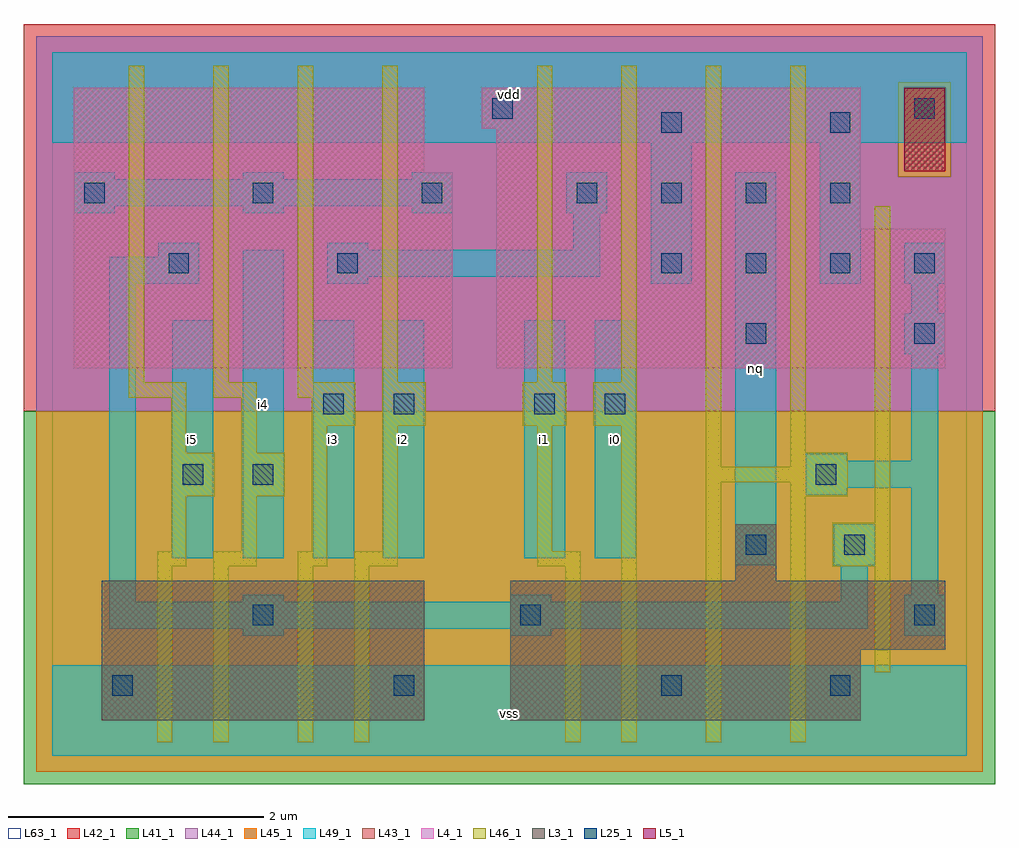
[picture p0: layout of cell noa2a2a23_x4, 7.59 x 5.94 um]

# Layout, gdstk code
import gdstk
lib = gdstk.Library(unit=1e-6, precision=1e-09)
def R(c, l, rs):  # rectangles x0, y0, x1, y1
    for r in rs: c.add(gdstk.rectangle(r[:2], r[2:], *l))
def A(c, l, x, y, w, h, nx, ny, dx, dy):  # array of equal rectangles
    R(c, l, [(x+i*dx, y+j*dy, x+i*dx+w, y+j*dy+h) for i in range(nx) for j in range(ny)])
L3_1 = (3, 1)
L4_1 = (4, 1)
L5_1 = (5, 1)
L25_1 = (25, 1)
L41_1 = (41, 1)
L42_1 = (42, 1)
L43_1 = (43, 1)
L44_1 = (44, 1)
L45_1 = (45, 1)
L46_1 = (46, 1)
L49_1 = (49, 1)
L63_1 = (63, 1)

noa2a2a23_x4 = lib.new_cell('noa2a2a23_x4')
R(noa2a2a23_x4, L3_1, [(0.39,0.28,2.91,1.37), (3.58,0.28,6.32,0.83), (3.58,0.83,6.98,1.37), (5.34,1.37,5.66,1.81)])
R(noa2a2a23_x4, L4_1, [(0.17,3.03,3.13,4.56), (3.47,3.03,6.98,4.12), (3.47,4.12,6.32,4.9), (0.17,4.56,2.91,5.22), (3.36,4.9,6.32,5.22)])
R(noa2a2a23_x4, L5_1, [(6.66,4.57,6.98,5.22)])
A(noa2a2a23_x4, L25_1, 4.76, 3.77, 0.16, 0.16, 4, 1, 0.66, 0)
A(noa2a2a23_x4, L25_1, 0.25, 4.32, 0.16, 0.16, 3, 1, 1.32, 0)
A(noa2a2a23_x4, L25_1, 4.1, 4.32, 0.16, 0.16, 4, 1, 0.66, 0)
R(noa2a2a23_x4, L25_1, [(0.47,0.47,0.63,0.63), (2.67,0.47,2.83,0.63), (4.76,0.47,4.92,0.63), (6.08,0.47,6.24,0.63), (1.57,1.02,1.73,1.18), (3.66,1.02,3.82,1.18), (6.74,1.02,6.9,1.18), (5.42,1.57,5.58,1.73), (6.19,1.57,6.35,1.73), (1.02,2.12,1.18,2.28), (1.57,2.12,1.73,2.28), (5.97,2.12,6.13,2.28), (2.12,2.67,2.28,2.83), (2.67,2.67,2.83,2.83), (3.77,2.67,3.93,2.83), (4.32,2.67,4.48,2.83), (5.42,3.22,5.58,3.38), (6.74,3.22,6.9,3.38), (0.91,3.77,1.07,3.93), (2.23,3.77,2.39,3.93), (4.76,4.87,4.92,5.03), (6.08,4.87,6.24,5.03), (3.44,4.98,3.6,5.14), (6.74,4.98,6.9,5.14)])
R(noa2a2a23_x4, L41_1, [(-0.22,-0.22,7.37,2.695)])
R(noa2a2a23_x4, L42_1, [(-0.22,2.695,7.37,5.72)])
R(noa2a2a23_x4, L43_1, [(0.39,0.28,2.91,1.37), (3.58,0.28,6.32,0.83), (3.58,0.83,6.98,1.37), (5.34,1.37,5.66,1.81), (0.17,3.03,3.13,4.56), (3.47,3.03,6.98,4.12), (3.47,4.12,6.32,4.9), (0.17,4.56,2.91,5.22), (6.66,4.57,6.98,5.22), (3.36,4.9,6.32,5.22)])
R(noa2a2a23_x4, L44_1, [(-0.125,2.695,7.275,4.525), (-0.125,4.525,6.615,5.265), (7.025,4.525,7.275,5.265), (-0.125,5.265,7.275,5.625)])
R(noa2a2a23_x4, L45_1, [(-0.125,-0.125,7.275,2.695), (6.615,4.525,7.025,5.265)])
A(noa2a2a23_x4, L46_1, 0.6, 2.92, 0.12, 2.475, 4, 1, 0.66, 0)
R(noa2a2a23_x4, L46_1, [(0.82,0.105,0.94,1.48), (1.26,0.105,1.38,1.48), (1.92,0.105,2.04,1.48), (2.36,0.105,2.48,1.48), (4.01,0.105,4.13,1.48), (4.45,0.105,4.57,2.58), (5.11,0.105,5.23,2.14), (5.77,0.105,5.89,2.03), (6.43,0.655,6.55,1.48), (0.82,1.48,1.05,1.6), (1.26,1.48,1.6,1.6), (1.92,1.48,2.15,1.6), (2.36,1.48,2.7,1.6), (3.79,1.48,4.13,1.6), (6.1,1.48,6.55,1.82), (0.93,1.6,1.05,2.03), (1.48,1.6,1.6,2.03), (2.03,1.6,2.15,2.58), (2.58,1.6,2.7,2.58), (3.79,1.6,3.91,2.58), (6.43,1.82,6.55,4.295), (0.93,2.03,1.27,2.37), (1.48,2.03,1.82,2.37), (5.77,2.03,6.22,2.14), (5.11,2.14,6.22,2.26), (5.11,2.26,5.23,5.395), (5.77,2.26,6.22,2.37), (0.93,2.37,1.05,2.8), (1.48,2.37,1.6,2.8), (5.77,2.37,5.89,5.395), (2.03,2.58,2.37,2.8), (2.58,2.58,2.92,2.92), (3.68,2.58,4.02,2.92), (4.23,2.58,4.57,2.92), (0.6,2.8,1.05,2.92), (1.26,2.8,1.6,2.92), (1.92,2.8,2.37,2.92), (3.79,2.92,3.91,5.395), (4.45,2.92,4.57,5.395)])
A(noa2a2a23_x4, L49_1, 0.17, 4.24, 0.32, 0.055, 3, 2, 1.32, 0.265)
R(noa2a2a23_x4, L49_1, [(0,0,7.15,0.71), (1.49,0.94,1.81,0.995), (3.58,0.94,3.9,0.995), (6.66,0.94,6.98,1.26), (0.445,0.995,6.375,1.205), (0.445,1.205,0.655,3.69), (1.49,1.205,1.81,1.26), (3.58,1.205,3.9,1.26), (6.165,1.205,6.375,1.49), (6.715,1.26,6.925,2.095), (5.34,1.49,5.66,4.56), (6.11,1.49,6.43,1.81), (0.94,1.545,1.26,3.405), (1.49,1.545,1.81,3.955), (2.04,1.545,2.36,3.405), (2.59,1.545,2.91,3.405), (3.69,1.545,4.01,3.405), (4.24,1.545,4.56,3.405), (5.89,2.04,6.21,2.095), (5.89,2.095,6.925,2.305), (5.89,2.305,6.21,2.36), (6.715,2.305,6.925,3.14), (6.66,3.14,6.98,3.46), (6.715,3.46,6.925,3.69), (0.445,3.69,1.15,3.9), (2.15,3.69,2.47,3.745), (4.68,3.69,5,4.79), (6,3.69,6.32,4.79), (6.66,3.69,6.98,4.01), (2.15,3.745,4.285,3.955), (0.83,3.9,1.15,4.01), (2.15,3.955,2.47,4.01), (4.075,3.955,4.285,4.24), (4.02,4.24,4.34,4.56), (0.17,4.295,3.13,4.505), (0,4.79,7.15,5.5)])
R(noa2a2a23_x4, L63_1, [(0,0,7.15,5.5)])
noa2a2a23_x4.add(gdstk.Label('i5', (1.1,2.475), layer=49, texttype=1))
noa2a2a23_x4.add(gdstk.Label('i5', (1.1,2.475), layer=49, texttype=1))
noa2a2a23_x4.add(gdstk.Label('i3', (2.2,2.475), layer=49, texttype=1))
noa2a2a23_x4.add(gdstk.Label('i4', (1.65,2.75), layer=49, texttype=1))
noa2a2a23_x4.add(gdstk.Label('i4', (1.65,2.75), layer=49, texttype=1))
noa2a2a23_x4.add(gdstk.Label('i3', (2.2,2.475), layer=49, texttype=1))
noa2a2a23_x4.add(gdstk.Label('vss', (3.575,0.33), layer=49, texttype=1))
noa2a2a23_x4.add(gdstk.Label('vss', (3.575,0.33), layer=49, texttype=1))
noa2a2a23_x4.add(gdstk.Label('i2', (2.75,2.475), layer=49, texttype=1))
noa2a2a23_x4.add(gdstk.Label('i2', (2.75,2.475), layer=49, texttype=1))
noa2a2a23_x4.add(gdstk.Label('i1', (3.85,2.475), layer=49, texttype=1))
noa2a2a23_x4.add(gdstk.Label('i1', (3.85,2.475), layer=49, texttype=1))
noa2a2a23_x4.add(gdstk.Label('vdd', (3.575,5.17), layer=49, texttype=1))
noa2a2a23_x4.add(gdstk.Label('vdd', (3.575,5.17), layer=49, texttype=1))
noa2a2a23_x4.add(gdstk.Label('i0', (4.4,2.475), layer=49, texttype=1))
noa2a2a23_x4.add(gdstk.Label('i0', (4.4,2.475), layer=49, texttype=1))
noa2a2a23_x4.add(gdstk.Label('nq', (5.5,3.025), layer=49, texttype=1))
noa2a2a23_x4.add(gdstk.Label('nq', (5.5,3.025), layer=49, texttype=1))

lib.write_gds('noa2a2a23_x4.gds')
